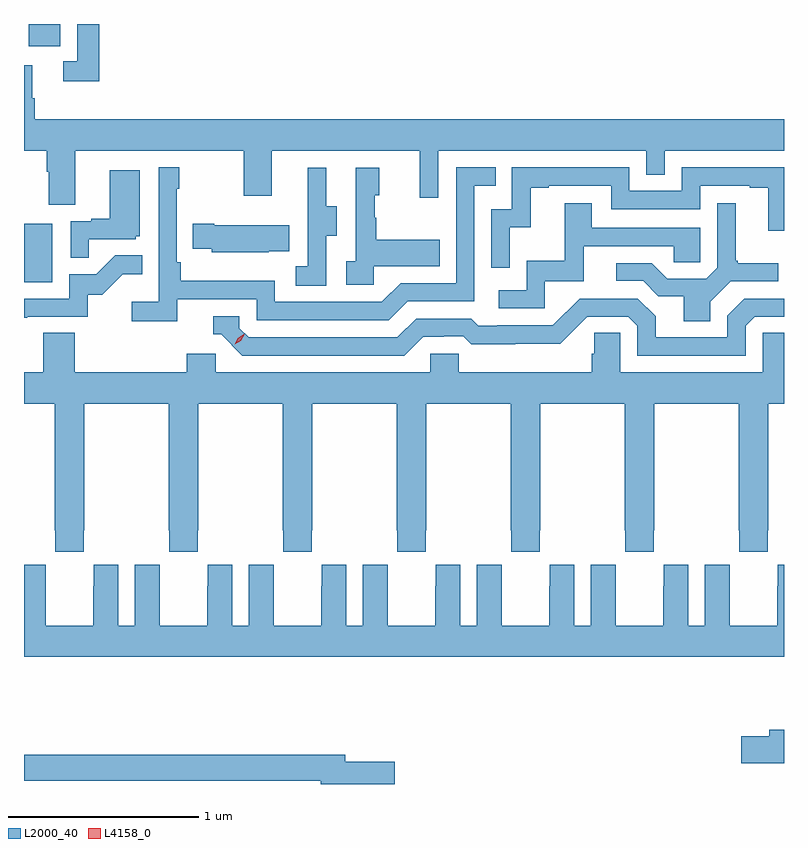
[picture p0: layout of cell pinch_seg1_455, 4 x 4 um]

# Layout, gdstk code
import gdstk
lib = gdstk.Library(unit=1e-6, precision=1e-09)
def R(c, l, rs):  # rectangles x0, y0, x1, y1
    for r in rs: c.add(gdstk.rectangle(r[:2], r[2:], *l))
def P(c, l, *ps):  # polygons
    for p in ps: c.add(gdstk.Polygon(p, *l))
L2000_40 = (2000, 40)
L4158_0 = (4158, 0)

pinch_seg1_455 = lib.new_cell('pinch_seg1_455')
R(pinch_seg1_455, L2000_40, [(982.296,512.412,982.444,512.719), (982.322,513.654,982.486,513.77)])
P(pinch_seg1_455, L2000_40, [(982.691,513.77),(982.575,513.77),(982.575,513.573),(982.503,513.573),(982.503,513.468),(982.691,513.468)],
  [(982.567,513.104),(983.452,513.104),(983.452,512.865),(983.599,512.865),(983.599,513.104),(984.38,513.104),(984.38,512.856),(984.477,512.856),(984.477,513.104),(985.572,513.104),(985.572,512.977),(985.668,512.977),(985.668,513.104),(986.296,513.104),(986.296,513.268),(982.352,513.268),(982.352,513.38),(982.339,513.38),(982.339,513.554),(982.296,513.554),(982.296,513.104),(982.415,513.104),(982.415,512.992),(982.427,512.992),(982.427,512.818),(982.567,512.818)],
  [(983.102,512.322),(983.52,512.322),(983.52,512.211),(984.217,512.211),(984.316,512.31),(984.666,512.31),(984.666,512.919),(984.779,512.919),(984.779,513.015),(984.57,513.015),(984.57,512.406),(984.279,512.406),(984.18,512.307),(983.616,512.307),(983.616,512.419),(983.12,512.419),(983.12,512.515),(983.1,512.515),(983.1,512.903),(983.113,512.903),(983.113,513.016),(983.004,513.016),(983.004,512.308),(982.863,512.308),(982.863,512.206),(983.102,512.206)],
  [(984.852,512.699),(984.962,512.699),(984.962,512.907),(985.057,512.907),(985.057,512.919),(985.386,512.919),(985.386,512.796),(985.854,512.796),(985.854,512.919),(986.117,512.919),(986.117,512.907),(986.213,512.907),(986.213,512.681),(986.296,512.681),(986.296,513.015),(985.758,513.015),(985.758,512.892),(985.482,512.892),(985.482,513.015),(984.864,513.015),(984.864,512.796),(984.756,512.796),(984.756,512.487),(984.852,512.487)],
  [(983.886,512.656),(983.941,512.656),(983.941,512.811),(983.887,512.811),(983.887,513.013),(983.789,513.013),(983.789,512.799),(983.79,512.799),(983.79,512.495),(983.727,512.495),(983.727,512.392),(983.886,512.392)],
  [(984.138,512.495),(984.485,512.495),(984.485,512.635),(984.151,512.635),(984.151,512.75),(984.141,512.75),(984.141,512.868),(984.166,512.868),(984.166,513.013),(984.042,513.013),(984.042,512.522),(983.991,512.522),(983.991,512.397),(984.138,512.397)],
  [(982.637,512.637),(982.884,512.637),(982.884,512.652),(982.906,512.652),(982.906,513.001),(982.748,513.001),(982.748,512.746),(982.649,512.746),(982.649,512.733),(982.542,512.733),(982.542,512.539),(982.637,512.539)],
  [(985.909,512.308),(986.016,512.415),(986.266,512.415),(986.266,512.512),(986.053,512.512),(986.053,512.524),(986.041,512.524),(986.041,512.827),(985.944,512.827),(985.944,512.487),(985.887,512.43),(985.681,512.43),(985.6,512.511),(985.413,512.511),(985.413,512.418),(985.554,512.418),(985.634,512.338),(985.769,512.338),(985.769,512.206),(985.909,512.206)],
  [(985.038,512.415),(985.243,512.415),(985.243,512.601),(985.717,512.601),(985.717,512.517),(985.854,512.517),(985.854,512.697),(985.285,512.697),(985.285,512.827),(985.141,512.827),(985.141,512.524),(984.942,512.524),(984.942,512.37),(984.795,512.37),(984.795,512.274),(985.038,512.274)],
  [(983.585,512.573),(983.693,512.573),(983.693,512.71),(983.296,512.71),(983.296,512.718),(983.185,512.718),(983.185,512.588),(983.283,512.588),(983.283,512.57),(983.585,512.57)],
  [(982.313,512.229),(982.632,512.229),(982.632,512.346),(982.708,512.346),(982.815,512.453),(982.919,512.453),(982.919,512.552),(982.775,512.552),(982.677,512.454),(982.533,512.454),(982.533,512.325),(982.296,512.325),(982.296,512.224),(982.313,512.224)],
  [(984.397,512.124),(984.504,512.124),(984.504,512.127),(984.607,512.127),(984.649,512.085),(984.882,512.085),(984.882,512.087),(985.118,512.087),(985.26,512.229),(985.476,512.229),(985.524,512.181),(985.524,512.025),(986.094,512.025),(986.094,512.181),(986.142,512.229),(986.296,512.229),(986.296,512.325),(986.088,512.325),(985.998,512.235),(985.998,512.121),(985.621,512.121),(985.621,512.231),(985.527,512.325),(985.221,512.325),(985.08,512.184),(984.787,512.184),(984.787,512.181),(984.688,512.181),(984.649,512.22),(984.36,512.22),(984.261,512.121),(983.478,512.121),(983.43,512.169),(983.43,512.232),(983.291,512.232),(983.291,512.136),(983.334,512.136),(983.445,512.025),(984.298,512.025)],
  [(985.459,511.105),(985.461,511.105),(985.461,510.993),(985.611,510.993),(985.611,511.105),(985.614,511.105),(985.614,511.772),(986.059,511.772),(986.059,511.105),(986.061,511.105),(986.061,510.993),(986.211,510.993),(986.211,511.105),(986.214,511.105),(986.214,511.772),(986.296,511.772),(986.296,512.144),(986.184,512.144),(986.184,511.936),(985.434,511.936),(985.434,512.144),(985.297,512.144),(985.297,512.034),(985.283,512.034),(985.283,511.936),(984.585,511.936),(984.585,512.034),(984.435,512.034),(984.435,511.936),(983.304,511.936),(983.304,512.034),(983.153,512.034),(983.153,511.936),(982.562,511.936),(982.562,512.144),(982.397,512.144),(982.397,511.936),(982.296,511.936),(982.296,511.772),(982.459,511.772),(982.459,511.105),(982.461,511.105),(982.461,510.993),(982.611,510.993),(982.611,511.105),(982.614,511.105),(982.614,511.772),(983.059,511.772),(983.059,511.105),(983.061,511.105),(983.061,510.993),(983.211,510.993),(983.211,511.105),(983.214,511.105),(983.214,511.772),(983.659,511.772),(983.659,511.105),(983.661,511.105),(983.661,510.993),(983.811,510.993),(983.811,511.105),(983.814,511.105),(983.814,511.772),(984.259,511.772),(984.259,511.105),(984.261,511.105),(984.261,510.993),(984.411,510.993),(984.411,511.105),(984.414,511.105),(984.414,511.772),(984.859,511.772),(984.859,511.105),(984.861,511.105),(984.861,510.993),(985.011,510.993),(985.011,511.105),(985.014,511.105),(985.014,511.772),(985.459,511.772)],
  [(986.296,510.925),(986.262,510.925),(986.262,510.812),(986.261,510.812),(986.261,510.604),(986.011,510.604),(986.011,510.812),(986.01,510.812),(986.01,510.925),(985.88,510.925),(985.88,510.604),(985.792,510.604),(985.792,510.925),(985.662,510.925),(985.662,510.812),(985.661,510.812),(985.661,510.604),(985.411,510.604),(985.411,510.812),(985.41,510.812),(985.41,510.925),(985.28,510.925),(985.28,510.604),(985.192,510.604),(985.192,510.925),(985.062,510.925),(985.062,510.812),(985.061,510.812),(985.061,510.604),(984.811,510.604),(984.811,510.812),(984.81,510.812),(984.81,510.925),(984.68,510.925),(984.68,510.604),(984.592,510.604),(984.592,510.925),(984.462,510.925),(984.462,510.812),(984.461,510.812),(984.461,510.604),(984.211,510.604),(984.211,510.812),(984.21,510.812),(984.21,510.925),(984.08,510.925),(984.08,510.604),(983.992,510.604),(983.992,510.925),(983.862,510.925),(983.862,510.812),(983.861,510.812),(983.861,510.604),(983.611,510.604),(983.611,510.812),(983.61,510.812),(983.61,510.925),(983.48,510.925),(983.48,510.604),(983.392,510.604),(983.392,510.925),(983.262,510.925),(983.262,510.812),(983.261,510.812),(983.261,510.604),(983.011,510.604),(983.011,510.812),(983.01,510.812),(983.01,510.925),(982.88,510.925),(982.88,510.604),(982.792,510.604),(982.792,510.925),(982.662,510.925),(982.662,510.812),(982.661,510.812),(982.661,510.604),(982.411,510.604),(982.411,510.812),(982.41,510.812),(982.41,510.925),(982.296,510.925),(982.296,510.44),(986.296,510.44)],
  [(986.296,510.055),(986.219,510.055),(986.219,510.021),(986.07,510.021),(986.07,509.879),(986.296,509.879)],
  [(984.247,509.888),(983.986,509.888),(983.986,509.924),(982.296,509.924),(982.296,509.788),(983.858,509.788),(983.858,509.77),(984.247,509.77)])
P(pinch_seg1_455, L4158_0, [(983.406,512.084),(983.406,512.084),(983.422,512.116),(983.453,512.136),(983.454,512.136),(983.454,512.135),(983.437,512.103),(983.406,512.084)])

lib.write_gds('pinch_seg1_455.gds')
